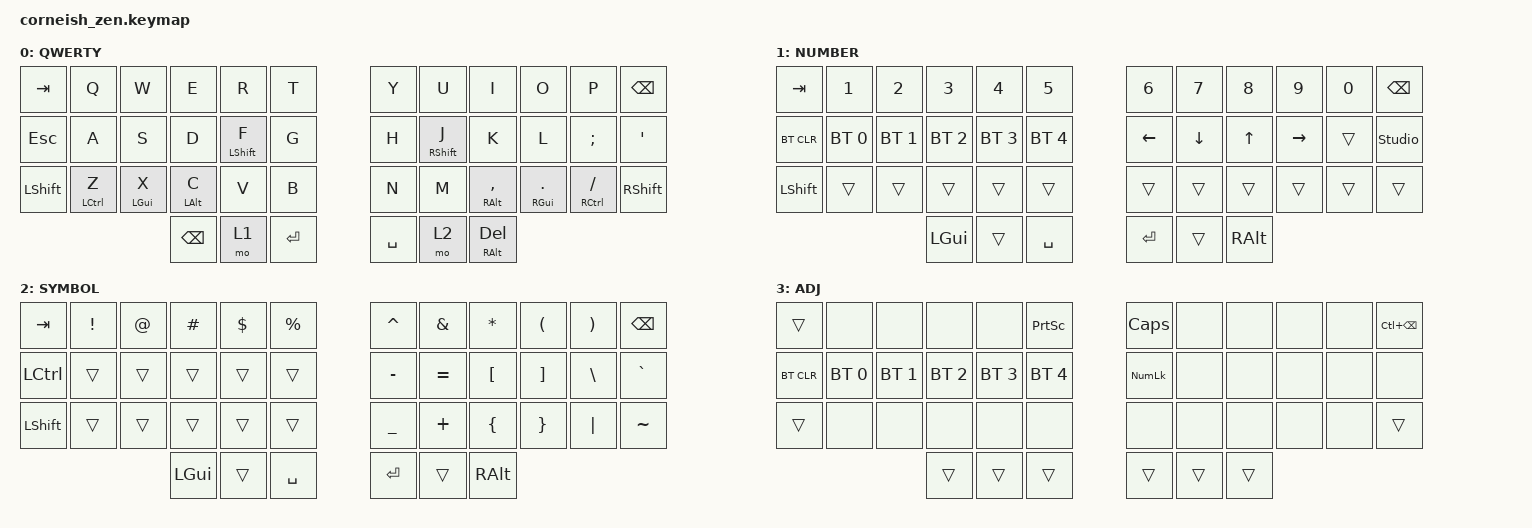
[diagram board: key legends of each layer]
#include <behaviors.dtsi>
#include <dt-bindings/zmk/keys.h>
#include <dt-bindings/zmk/bt.h>

/ {
    chosen {
        zmk,physical-layout = &foostan_corne_6col_layout;
        // zmk,physical-layout = &foostan_corne_5col_layout;
    };
};


// Define the key positions for convenience
// Corne standard 42-key matrix
#define LEFT_KEYS  0  1  2  3  4  5    12 13 14 15 16 17    24 25 26 27 28 29
#define RIGHT_KEYS 6  7  8  9 10 11    18 19 20 21 22 23    30 31 32 33 34 35
#define THUMBS     36 37 38 39 40 41

// Define positions for your specific exception keys
// Based on standard QWERTY Corne positions:
// Z=24, X=25, C=26, V=27, F=16, J=19
#define KEY_X 25
#define KEY_C 26
#define KEY_V 27
// Assuming Enter is a thumb or right-side key, it's covered by RIGHT_KEYS or THUMBS.
// If you have a dedicated Enter on the left, find its index and add it.

/ {
    behaviors {
        // -----------------------------------------------------------------------------------------
        // 1. FAST / AGILE SHIFT (F & J)
        // -----------------------------------------------------------------------------------------
        // - Flavor: Balanced (registers fast rolls like Shift+Char immediately)
        // - Timeout: 175ms (fast)
        // - Positional: Enforces cross-hand usage for zero errors
        
        hm_shift_l: homerow_shift_left {
            compatible = "zmk,behavior-hold-tap";
            label = "HM_SHIFT_L";
            #binding-cells = <2>;
            tapping-term-ms = <175>;
            quick-tap-ms = <175>;
            flavor = "balanced";
            bindings = <&kp>, <&kp>;
            hold-trigger-key-positions = <RIGHT_KEYS THUMBS>; // Only activates if pressing Right/Thumb keys
        };

        hm_shift_r: homerow_shift_right {
            compatible = "zmk,behavior-hold-tap";
            label = "HM_SHIFT_R";
            #binding-cells = <2>;
            tapping-term-ms = <175>;
            quick-tap-ms = <175>;
            flavor = "balanced";
            bindings = <&kp>, <&kp>;
            hold-trigger-key-positions = <LEFT_KEYS THUMBS>; // Only activates if pressing Left/Thumb keys
        };

        // -----------------------------------------------------------------------------------------
        // 2. SAFE / DELIBERATE MODS (Z, X, C ... / . ,)
        // -----------------------------------------------------------------------------------------
        // - Flavor: Tap-preferred (prevents accidental fires when typing fast)
        // - Timeout: 250ms (slower, must hold deliberately)
        // - Idle: 150ms (Must not have been typing recently to activate)
        
        hm_mod_l: homerow_mod_left {
            compatible = "zmk,behavior-hold-tap";
            label = "HM_MOD_L";
            #binding-cells = <2>;
            tapping-term-ms = <250>;
            quick-tap-ms = <175>;
            require-prior-idle-ms = <150>; // "The Magic Setting": Prevents misfires during fast typing
            flavor = "tap-preferred";
            bindings = <&kp>, <&kp>;
            // triggers on Right side, Thumbs, AND specific Left-hand shortcuts (Ctrl+C/V/X)
            hold-trigger-key-positions = <RIGHT_KEYS THUMBS KEY_X KEY_C KEY_V>; 
        };

        hm_mod_r: homerow_mod_right {
            compatible = "zmk,behavior-hold-tap";
            label = "HM_MOD_R";
            #binding-cells = <2>;
            tapping-term-ms = <250>;
            quick-tap-ms = <175>;
            require-prior-idle-ms = <150>;
            flavor = "tap-preferred";
            bindings = <&kp>, <&kp>;
            hold-trigger-key-positions = <LEFT_KEYS THUMBS>;
        };
    };


/ {
    keymap {
        compatible = "zmk,keymap";

        default_layer {
            display-name = "QWERTY";
// --------------------------------------------------------------------------------
// |  ESC |  Q  |  W  |  E  |  R  |  T  |   |  Y  |  U   |  I  |  O  |  P  | BSPC |
// |  TAB |  A  |  S  |  D  |  F  |  G  |   |  H  |  J   |  K  |  L  |  ;  |  '   |
// | CTRL |  Z  |  X  |  C  |  V  |  B  |   |  N  |  M   |  ,  |  .  |  /  | SHFT |
//                    | GUI | LWR | ENT |   | SPC | RSE  | ALT |
            bindings = <
   &kp TAB   &kp Q  &kp W  &kp E         &kp R          &kp T             &kp Y            &kp U           &kp I           &kp O    &kp P     &kp BSPC
   &kp ESC   &kp A  &kp S  &kp D         &hm_shift_l LSHFT F &kp G        &kp H            &hm_shift_r RSHFT J  &kp K      &kp L    &kp SEMI  &kp SQT
   &kp LSHFT &hm_mod_l LCTRL Z  &hm_mod_l LGUI X &hm_mod_l LALT C  &kp
   V          &kp B             &kp N            &kp M           &hm_mod_r RALT
   COMMA  &hm_mod_r RGUI DOT &hm_mod_r RCTRL FSLH &kp RSHFT
                  &kp BSPC &mo 1 &kp RET    &kp SPC &mo 2 &hm_mod_r RALT DEL
            >;
        };

        lower_layer {
            display-name = "NUMBER";
// -----------------------------------------------------------------------------------------
// |  TAB |  1  |  2  |  3  |  4  |  5  |   |  6  |  7  |  8  |  9  |  0  | BSPC |
// | BTCLR| BT1 | BT2 | BT3 | BT4 | BT5 |   | LFT | DWN |  UP | RGT |     |Studio|
// | SHFT |     |     |     |     |     |   |     |     |     |     |     |      |
//                    | GUI |     | SPC |   | ENT |     | ALT |
            bindings = <
&kp TAB    &kp N1       &kp N2       &kp N3       &kp N4       &kp N5         &kp N6   &kp N7   &kp N8 &kp N9    &kp N0 &kp BSPC
&bt BT_CLR &bt BT_SEL 0 &bt BT_SEL 1 &bt BT_SEL 2 &bt BT_SEL 3 &bt BT_SEL 4   &kp LEFT &kp DOWN &kp UP &kp RIGHT &trans &studio_unlock
&kp LSHFT  &trans       &trans       &trans       &trans       &trans         &trans   &trans   &trans &trans    &trans &trans
                                     &kp LGUI     &trans       &kp SPACE      &kp RET  &trans   &kp RALT
            >;
        };

        raise_layer {
            display-name = "SYMBOL";
// -----------------------------------------------------------------------------------------
// |  TAB |  !  |  @  |  #  |  $  |  %  |   |  ^  |  &  |  *  |  (  |  )  | BSPC |
// | CTRL |     |     |     |     |     |   |  -  |  =  |  [  |  ]  |  \  |  `   |
// | SHFT |     |     |     |     |     |   |  _  |  +  |  {  |  }  | "|" |  ~   |
//                    | GUI |     | SPC |   | ENT |     | ALT |
            bindings = <
&kp  TAB  &kp EXCL &kp AT &kp HASH &kp DLLR &kp PRCNT   &kp CARET &kp AMPS  &kp ASTRK &kp LPAR &kp RPAR &kp BSPC
&kp LCTRL &trans   &trans &trans   &trans   &trans      &kp MINUS &kp EQUAL &kp LBKT  &kp RBKT &kp BSLH &kp GRAVE
&kp LSHFT &trans   &trans &trans   &trans   &trans      &kp UNDER &kp PLUS  &kp LBRC  &kp RBRC &kp PIPE &kp TILDE
                          &kp LGUI &trans   &kp SPACE   &kp RET   &trans    &kp RALT
            >;
        };

// 3
         adjust {
           display-name = "ADJ";

         // Adjust
         //  ,-----------------------------------------------------.                    ,---------------------------    --------------------------.
         //  |    ▼   |        |        |        |        | Print  |                    | CAPSLCK|        |        |            |        |WordBspc|
         //  |--------+--------+--------+--------+--------+--------|                    |--------+--------+--------+    --------+--------+--------|
         //  | BT CLR |  BT 0  |  BT 1  |  BT 2  |  BT 3  |  BT 4  |                    | NUMLCK |        |        |            |        |   ▼    |
         //  |--------+--------+--------+--------+--------+--------|                    |--------+--------+--------+    --------+--------+--------|
         //  |    ▼   |        |        |        |        |        |                    |        |        |        |            |        |   ▼    |
         //  `--------+--------+--------+--------+--------+--------+--------.  .--------+--------+--------+--------+    --------+--------+--------'
         //                                      │    ▼   │    ▼   │    ▼   │  │    ▼   │    ▼   │    ▼   │
         //                                      `--------------------------'  `--------------------------'
             bindings = <
             &trans      &none         &none         &none         &none         &kp PSCRN       &kp CAPS               &none   &none   &none   &none  &kp LC(BSPC)
             &bt BT_CLR  &bt BT_SEL 0  &bt BT_SEL 1  &bt BT_SEL 2  &bt BT_SEL 3  &bt BT_SEL 4    &kp KP_NUMLOCK         &none   &none   &none   &none  &none
             &trans      &none         &none         &none         &none         &none           &none                  &none   &none   &none   &none  &trans
                                       &trans        &trans        &trans                        &trans    &trans       &trans
             >;
         };








    };
};


/ {
    macros {
        // Select the current word
        select_word: select_word {
            compatible = "zmk,behavior-macro";
            #binding-cells = <0>;
            wait-ms = <1>;
            tap-ms = <1>;
            bindings
                = <&kp LCTRL &kp LEFT>        // Move to start of word
                , <&kp LCTRL &kp LSHFT &kp RIGHT> // Select to end of word
                ;
        };

        // Select the current line
        select_line: select_line {
            compatible = "zmk,behavior-macro";
            #binding-cells = <0>;
            wait-ms = <1>;
            tap-ms = <1>;
            bindings
                = <&kp END>                   // Move to end of line
                , <&kp LSHFT &kp HOME>        // Select to start of line
                ;
        };
    };
};


/ {
  combos {
        compatible = "zmk,combos";
        timeout-ms = <50>;

        // -----------------------------------------------------------------------------------------
        // SPECIAL UTILITIES
        // -----------------------------------------------------------------------------------------
        // Both Shifts (F+J) = Caps Word
        combo_capsword { key-positions = <16 19>; bindings = <&caps_word>; };

        // -----------------------------------------------------------------------------------------
        // SYMBOLS & BRACKETS
        // -----------------------------------------------------------------------------------------
        // Left Hand Combos
        combo_minus { key-positions = <15 16>; bindings = <&kp MINUS>; }; // d + f
        combo_lbrc  { key-positions = <4 5>;   bindings = <&kp LBRC>;  }; // r + t
        combo_lbkt  { key-positions = <16 17>; bindings = <&kp LBKT>;  }; // f + g
        combo_lpar  { key-positions = <28 29>; bindings = <&kp LPAR>;  }; // v + b
        combo_dqt   { key-positions = <27 28>; bindings = <&kp DQT>;   }; // c + v (Double Quote ")
        combo_grave { key-positions = <14 15>; bindings = <&kp GRAVE>; }; // s + d (Grave `)

        // Right Hand Combos
        combo_under { key-positions = <19 20>; bindings = <&kp UNDER>; }; // j + k
        combo_rbrc  { key-positions = <6 7>;   bindings = <&kp RBRC>;  }; // y + u
        combo_rbkt  { key-positions = <18 19>; bindings = <&kp RBKT>;  }; // h + j
        combo_rpar  { key-positions = <30 31>; bindings = <&kp RPAR>;  }; // n + m
        combo_sqt   { key-positions = <31 32>; bindings = <&kp SQT>;   }; // m + , (Single Quote ')

        // -----------------------------------------------------------------------------------------
        // NAVIGATION & EDITING
        // -----------------------------------------------------------------------------------------
        combo_esc   { key-positions = <1 2>;   bindings = <&kp ESC>;   }; // q + w
        combo_tab   { key-positions = <13 14>; bindings = <&kp TAB>;   }; // a + s
        combo_bksp  { key-positions = <9 10>;  bindings = <&kp BSPC>;  }; // o + p
        combo_del   { key-positions = <21 22>; bindings = <&kp DEL>;   }; // l + ;


        // BOTH SHIFTS (F and J) TOGGLES CAPS WORD
        combo_caps_word {
            timeout-ms = <50>;
            key-positions = <16 19>; // 16 is F, 19 is J on standard Corne
            bindings = <&caps_word>;
        };
    };
};
